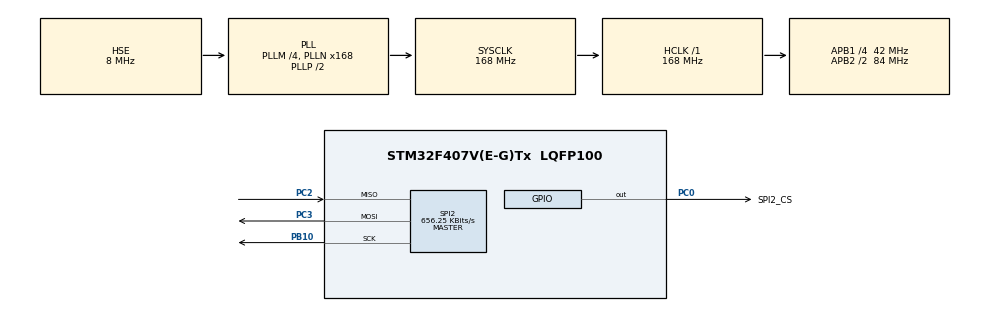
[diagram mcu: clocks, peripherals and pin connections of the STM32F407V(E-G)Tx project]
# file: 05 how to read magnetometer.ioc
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Mcu.Family=STM32F4
Mcu.Name=STM32F407V(E-G)Tx
Mcu.Package=LQFP100
NVIC.PriorityGroup=NVIC_PRIORITYGROUP_0
NVIC.TIM1_BRK_TIM9_IRQn=true\:0\:0\:false\:false\:true\:true\:true\:true
PA13.Mode=Serial_Wire
PA13.Signal=SYS_JTMS-SWDIO
PA14.Mode=Serial_Wire
PA14.Signal=SYS_JTCK-SWCLK
PB10.Mode=Full_Duplex_Master
PB10.Signal=SPI2_SCK
PB3.Signal=SYS_JTDO-SWO
PC0.GPIO_Label=SPI2_CS
PC0.PinState=GPIO_PIN_SET
PC0.Signal=GPIO_Output
PC2.Mode=Full_Duplex_Master
PC2.Signal=SPI2_MISO
PC3.Mode=Full_Duplex_Master
PC3.Signal=SPI2_MOSI
PH0-OSC_IN.Mode=HSE-External-Oscillator
PH0-OSC_IN.Signal=RCC_OSC_IN
PH1-OSC_OUT.Mode=HSE-External-Oscillator
PH1-OSC_OUT.Signal=RCC_OSC_OUT
ProjectManager.HeapSize=0x200
ProjectManager.StackSize=0x400
ProjectManager.TargetToolchain=STM32CubeIDE
RCC.48MHZClocksFreq_Value=48000000
RCC.AHBFreq_Value=168000000
RCC.APB1CLKDivider=RCC_HCLK_DIV4
RCC.APB1Freq_Value=42000000
RCC.APB1TimFreq_Value=84000000
RCC.APB2CLKDivider=RCC_HCLK_DIV2
RCC.APB2Freq_Value=84000000
RCC.APB2TimFreq_Value=168000000
RCC.CortexFreq_Value=168000000
RCC.HCLKFreq_Value=168000000
RCC.HSE_VALUE=8000000
RCC.HSI_VALUE=16000000
RCC.LSE_VALUE=32768
RCC.PLLM=4
RCC.PLLN=168
RCC.PLLQ=7
RCC.PLLSourceVirtual=RCC_PLLSOURCE_HSE
RCC.SYSCLKFreq_VALUE=168000000
RCC.SYSCLKSource=RCC_SYSCLKSOURCE_PLLCLK
RCC.VCOOutputFreq_Value=336000000
SPI2.BaudRatePrescaler=SPI_BAUDRATEPRESCALER_64
SPI2.CLKPhase=SPI_PHASE_2EDGE
SPI2.CLKPolarity=SPI_POLARITY_HIGH
SPI2.CalculateBaudRate=656.25 KBits/s
SPI2.Direction=SPI_DIRECTION_2LINES
SPI2.Mode=SPI_MODE_MASTER
SPI2.VirtualType=VM_MASTER
STMicroelectronics.X-CUBE-ALGOBUILD.1.3.0.LibraryCcDSPOoLibraryJjDSPOoLibrary=true
TIM9.Period=9999
TIM9.Prescaler=167
VP_STMicroelectronics.X-CUBE-ALGOBUILD_VS_DSPOoLibraryJjLibrary_1.3.0_1.3.0.Mode=DSPOoLibraryJjLibrary
VP_TIM9_VS_ClockSourceINT.Mode=Internal
board=STM32F407G-DISC1

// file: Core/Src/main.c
/* USER CODE BEGIN Header */
/**
  ******************************************************************************
  * @file           : main.c
  * @brief          : Main program body
  ******************************************************************************
  * @attention
  *
  * Copyright (c) 2024 STMicroelectronics.
  * All rights reserved.
  *
  * This software is licensed under terms that can be found in the LICENSE file
  * in the root directory of this software component.
  * If no LICENSE file comes with this software, it is provided AS-IS.
  *
  ******************************************************************************
  */
/* USER CODE END Header */
#include "main.h"
#include "spi.h"
#include "tim.h"
#include "gpio.h"

/* USER CODE BEGIN Includes */
#include "mpu9250.h"
#include "stdio.h"
#include "arm_math.h"
/* USER CODE END Includes */

/* USER CODE BEGIN PV */
int sum_gyro_x, sum_gyro_y, sum_gyro_z;
/* USER CODE END PV */

void SystemClock_Config(void);
/* USER CODE BEGIN PFP */
void mpu_callback(void);
/* USER CODE END PFP */

/* USER CODE BEGIN 0 */

mpu_data imu_data;

int16_t x_accel;
int16_t y_accel;
int16_t z_accel;
int16_t x_gyro;
int16_t y_gyro;
int16_t z_gyro;
int16_t x_mag;
int16_t y_mag;
int16_t z_mag;

/* USER CODE END 0 */

int main(void)
{

  /* MCU Configuration--------------------------------------------------------*/

  /* Reset of all peripherals, Initializes the Flash interface and the Systick. */
  HAL_Init();

  /* Configure the system clock */
  SystemClock_Config();

  /* Initialize all configured peripherals */
  MX_GPIO_Init();
  MX_SPI2_Init();
  MX_TIM9_Init();
  /* USER CODE BEGIN 2 */
  mpu_init();
  /* USER CODE END 2 */

  /* Infinite loop */
  while (1)
  {

  }
}

void SystemClock_Config(void)
{
  RCC_OscInitTypeDef RCC_OscInitStruct = {0};
  RCC_ClkInitTypeDef RCC_ClkInitStruct = {0};

  /** Configure the main internal regulator output voltage
  */
  __HAL_RCC_PWR_CLK_ENABLE();
  __HAL_PWR_VOLTAGESCALING_CONFIG(PWR_REGULATOR_VOLTAGE_SCALE1);

  /** Initializes the RCC Oscillators according to the specified parameters
  * in the RCC_OscInitTypeDef structure.
  */
  RCC_OscInitStruct.OscillatorType = RCC_OSCILLATORTYPE_HSE;
  RCC_OscInitStruct.HSEState = RCC_HSE_ON;
  RCC_OscInitStruct.PLL.PLLState = RCC_PLL_ON;
  RCC_OscInitStruct.PLL.PLLSource = RCC_PLLSOURCE_HSE;
  RCC_OscInitStruct.PLL.PLLM = 4;
  RCC_OscInitStruct.PLL.PLLN = 168;
  RCC_OscInitStruct.PLL.PLLP = RCC_PLLP_DIV2;
  RCC_OscInitStruct.PLL.PLLQ = 7;
  if (HAL_RCC_OscConfig(&RCC_OscInitStruct) != HAL_OK)
  {
    Error_Handler();
  }

  /** Initializes the CPU, AHB and APB buses clocks
  */
  RCC_ClkInitStruct.ClockType = RCC_CLOCKTYPE_HCLK|RCC_CLOCKTYPE_SYSCLK
                              |RCC_CLOCKTYPE_PCLK1|RCC_CLOCKTYPE_PCLK2;
  RCC_ClkInitStruct.SYSCLKSource = RCC_SYSCLKSOURCE_PLLCLK;
  RCC_ClkInitStruct.AHBCLKDivider = RCC_SYSCLK_DIV1;
  RCC_ClkInitStruct.APB1CLKDivider = RCC_HCLK_DIV4;
  RCC_ClkInitStruct.APB2CLKDivider = RCC_HCLK_DIV2;

  if (HAL_RCC_ClockConfig(&RCC_ClkInitStruct, FLASH_LATENCY_5) != HAL_OK)
  {
    Error_Handler();
  }
}

/* USER CODE BEGIN 4 */

int _write(int file, char *ptr, int len)
{
	int DataIdx;
	for(DataIdx = 0; DataIdx < len; DataIdx++)
		ITM_SendChar(*ptr++);
	return len;
}

void mpu_callback(void)
{
	mpu_read_sensor(&imu_data);
	/*
	x_gyro = imu_data.x_gyro;
	y_gyro = imu_data.y_gyro;
	z_gyro = imu_data.z_gyro;
	sum_gyro_x += x_gyro;
	sum_gyro_y += y_gyro;
	sum_gyro_z += z_gyro;
	*/
	x_mag = imu_data.x_mag;
	y_mag = imu_data.y_mag;
	z_mag = imu_data.z_mag;
}

/* USER CODE END 4 */

void Error_Handler(void)
{
  __disable_irq();
  while (1)
  {
  }
}
